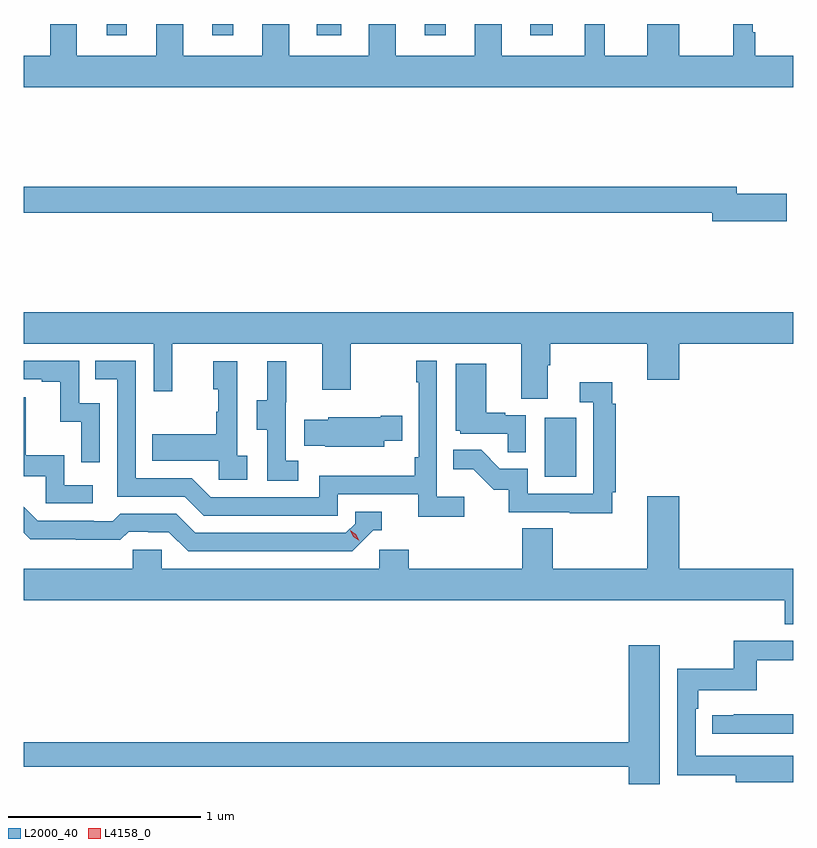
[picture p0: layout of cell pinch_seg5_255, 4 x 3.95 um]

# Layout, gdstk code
import gdstk
lib = gdstk.Library(unit=1e-6, precision=1e-09)
def R(c, l, rs):  # rectangles x0, y0, x1, y1
    for r in rs: c.add(gdstk.rectangle(r[:2], r[2:], *l))
def P(c, l, *ps):  # polygons
    for p in ps: c.add(gdstk.Polygon(p, *l))
L2000_40 = (2000, 40)
L4158_0 = (4158, 0)

pinch_seg5_255 = lib.new_cell('pinch_seg5_255')
R(pinch_seg5_255, L2000_40, [(931.706,896.028,931.87,896.335), (929.429,898.323,929.533,898.382), (929.978,898.323,930.088,898.382), (930.521,898.323,930.649,898.382), (931.082,898.323,931.192,898.382), (931.631,898.323,931.747,898.382)])
P(pinch_seg5_255, L2000_40, [(932.998,898.216),(932.8,898.216),(932.8,898.34),(932.787,898.34),(932.787,898.382),(932.686,898.382),(932.686,898.216),(932.404,898.216),(932.404,898.382),(932.24,898.382),(932.24,898.216),(932.017,898.216),(932.017,898.382),(931.913,898.382),(931.913,898.216),(931.483,898.216),(931.483,898.382),(931.343,898.382),(931.343,898.216),(930.931,898.216),(930.931,898.382),(930.791,898.382),(930.791,898.216),(930.379,898.216),(930.379,898.382),(930.239,898.382),(930.239,898.216),(929.827,898.216),(929.827,898.382),(929.687,898.382),(929.687,898.216),(929.275,898.216),(929.275,898.382),(929.135,898.382),(929.135,898.216),(928.998,898.216),(928.998,898.052),(932.998,898.052)],
  [(932.965,897.5),(932.704,897.5),(932.704,897.536),(928.998,897.536),(928.998,897.4),(932.576,897.4),(932.576,897.358),(932.965,897.358)],
  [(931.723,896.608),(931.736,896.608),(931.736,896.72),(932.24,896.72),(932.24,896.532),(932.404,896.532),(932.404,896.72),(932.998,896.72),(932.998,896.884),(928.998,896.884),(928.998,896.72),(929.673,896.72),(929.673,896.472),(929.771,896.472),(929.771,896.72),(930.551,896.72),(930.551,896.481),(930.699,896.481),(930.699,896.72),(931.583,896.72),(931.583,896.434),(931.723,896.434)],
  [(931.288,895.924),(931.146,895.924),(931.146,896.632),(931.038,896.632),(931.038,896.519),(931.05,896.519),(931.05,896.131),(931.03,896.131),(931.03,896.035),(930.534,896.035),(930.534,895.923),(929.97,895.923),(929.871,896.022),(929.58,896.022),(929.58,896.631),(929.371,896.631),(929.371,896.535),(929.484,896.535),(929.484,895.926),(929.834,895.926),(929.933,895.827),(930.63,895.827),(930.63,895.938),(931.049,895.938),(931.049,895.822),(931.288,895.822)],
  [(929.394,896.412),(929.286,896.412),(929.286,896.631),(928.998,896.631),(928.998,896.535),(929.093,896.535),(929.093,896.523),(929.189,896.523),(929.189,896.315),(929.298,896.315),(929.298,896.103),(929.394,896.103)],
  [(930.16,896.138),(930.108,896.138),(930.108,896.629),(929.984,896.629),(929.984,896.484),(930.01,896.484),(930.01,896.366),(930,896.366),(930,896.251),(929.665,896.251),(929.665,896.111),(930.012,896.111),(930.012,896.013),(930.16,896.013)],
  [(930.424,896.111),(930.36,896.111),(930.36,896.415),(930.362,896.415),(930.362,896.629),(930.263,896.629),(930.263,896.427),(930.209,896.427),(930.209,896.272),(930.264,896.272),(930.264,896.008),(930.424,896.008)],
  [(931.608,896.349),(931.502,896.349),(931.502,896.362),(931.402,896.362),(931.402,896.617),(931.244,896.617),(931.244,896.268),(931.266,896.268),(931.266,896.253),(931.513,896.253),(931.513,896.155),(931.608,896.155)],
  [(932.057,895.948),(932.075,895.948),(932.075,896.408),(932.057,896.408),(932.057,896.521),(931.887,896.521),(931.887,896.415),(931.959,896.415),(931.959,895.941),(931.617,895.941),(931.617,896.07),(931.473,896.07),(931.375,896.168),(931.231,896.168),(931.231,896.069),(931.335,896.069),(931.442,895.962),(931.519,895.962),(931.519,895.845),(931.837,895.845),(931.837,895.84),(932.057,895.84)],
  [(929.356,895.986),(929.208,895.986),(929.208,896.14),(929.009,896.14),(929.009,896.443),(928.998,896.443),(928.998,896.031),(929.112,896.031),(929.112,895.89),(929.356,895.89)],
  [(930.871,896.216),(930.965,896.216),(930.965,896.346),(930.854,896.346),(930.854,896.338),(930.582,896.338),(930.582,896.326),(930.457,896.326),(930.457,896.189),(930.565,896.189),(930.565,896.186),(930.871,896.186)],
  [(932.998,895.552),(932.404,895.552),(932.404,895.927),(932.24,895.927),(932.24,895.552),(931.749,895.552),(931.749,895.76),(931.589,895.76),(931.589,895.552),(930.998,895.552),(930.998,895.65),(930.846,895.65),(930.846,895.552),(929.715,895.552),(929.715,895.65),(929.565,895.65),(929.565,895.552),(928.998,895.552),(928.998,895.388),(932.953,895.388),(932.953,895.261),(932.998,895.261)],
  [(930.816,895.752),(930.859,895.752),(930.859,895.848),(930.72,895.848),(930.72,895.785),(930.672,895.737),(929.889,895.737),(929.79,895.836),(929.501,895.836),(929.462,895.797),(929.363,895.797),(929.363,895.8),(929.07,895.8),(928.998,895.872),(928.998,895.737),(929.032,895.703),(929.268,895.703),(929.268,895.701),(929.501,895.701),(929.543,895.743),(929.646,895.743),(929.646,895.74),(929.753,895.74),(929.852,895.641),(930.705,895.641)],
  [(932.998,894.58),(932.803,894.58),(932.803,894.579),(932.49,894.579),(932.49,894.824),(932.504,894.824),(932.504,894.92),(932.809,894.92),(932.809,895.075),(932.998,895.075),(932.998,895.176),(932.688,895.176),(932.688,895.03),(932.394,895.03),(932.394,894.478),(932.699,894.478),(932.699,894.44),(932.998,894.44)],
  [(932.305,895.153),(932.144,895.153),(932.144,894.65),(928.998,894.65),(928.998,894.522),(932.144,894.522),(932.144,894.432),(932.305,894.432)],
  [(932.998,894.794),(932.689,894.794),(932.689,894.789),(932.577,894.789),(932.577,894.693),(932.998,894.693)])
P(pinch_seg5_255, L4158_0, [(930.741,895.697),(930.71,895.717),(930.695,895.749),(930.695,895.75),(930.695,895.75),(930.725,895.73),(930.741,895.697),(930.741,895.697)])

lib.write_gds('pinch_seg5_255.gds')
